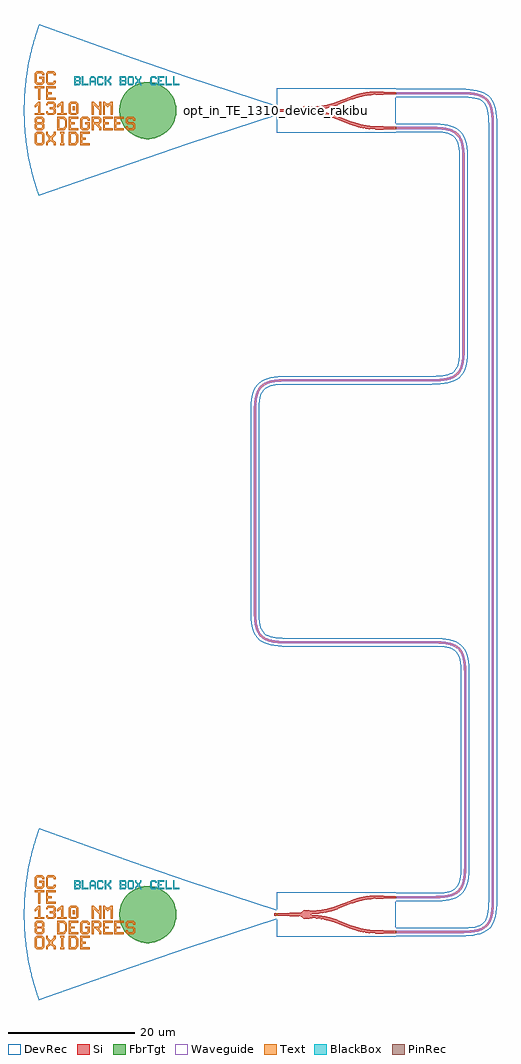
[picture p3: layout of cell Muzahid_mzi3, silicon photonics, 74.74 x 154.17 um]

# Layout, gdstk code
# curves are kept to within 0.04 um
import gdstk
lib = gdstk.Library(unit=1e-6, precision=1e-09)
def R(c, l, rs):  # rectangles x0, y0, x1, y1
    for r in rs: c.add(gdstk.rectangle(r[:2], r[2:], *l))
def P(c, l, *ps):  # polygons
    for p in ps: c.add(gdstk.Polygon(p, *l))
Si = (1, 0)
PinRec = (1, 10)
Waveguide = (1, 99)
Text = (10, 0)
DevRec = (68, 0)
FbrTgt = (81, 0)
BlackBox = (998, 0)

waveguide = lib.new_cell('Waveguide')
P(waveguide, Si, [(58.769,10.575),(58.769,10.925),(69.496,10.93),(70.634,10.997),(71.565,11.157),(72.076,11.32),(72.506,11.534),(72.863,11.799),(73.157,12.123),(73.448,12.626),(73.624,13.117),(73.838,14.358),(73.891,15.75),(73.891,138.25),(73.819,139.818),(73.693,140.608),(73.541,141.14),(73.341,141.59),(73.089,141.965),(72.78,142.274),(72.405,142.526),(71.955,142.726),(71.423,142.878),(70.458,143.022),(69.495,143.071),(58.769,143.075),(58.769,143.425),(69.287,143.424),(70.49,143.37),(71.499,143.22),(72.205,143.005),(72.901,142.623),(73.359,142.187),(73.709,141.64),(73.999,140.835),(74.147,140.032),(74.231,138.896),(74.241,15.75),(74.186,14.326),(74.068,13.473),(73.918,12.88),(73.71,12.361),(73.439,11.915),(73.099,11.539),(72.688,11.234),(72.206,10.996),(71.651,10.817),(70.672,10.649),(69.502,10.58)])
P(waveguide, Waveguide, [(58.769,10.575),(58.769,10.925),(69.496,10.93),(70.634,10.997),(71.565,11.157),(72.076,11.32),(72.506,11.534),(72.863,11.799),(73.157,12.123),(73.448,12.626),(73.624,13.117),(73.838,14.358),(73.891,15.75),(73.891,138.25),(73.819,139.818),(73.693,140.608),(73.541,141.14),(73.341,141.59),(73.089,141.965),(72.78,142.274),(72.405,142.526),(71.955,142.726),(71.423,142.878),(70.458,143.022),(69.495,143.071),(58.769,143.075),(58.769,143.425),(69.287,143.424),(70.49,143.37),(71.499,143.22),(72.205,143.005),(72.901,142.623),(73.359,142.187),(73.709,141.64),(73.999,140.835),(74.147,140.032),(74.231,138.896),(74.241,15.75),(74.186,14.326),(74.068,13.473),(73.918,12.88),(73.71,12.361),(73.439,11.915),(73.099,11.539),(72.688,11.234),(72.206,10.996),(71.651,10.817),(70.672,10.649),(69.502,10.58)])
P(waveguide, DevRec, [(58.769,10.075),(58.769,11.425),(69.718,11.436),(70.822,11.524),(71.665,11.705),(72.264,11.972),(72.491,12.136),(72.845,12.553),(73.112,13.152),(73.214,13.542),(73.349,14.514),(73.391,15.75),(73.391,138.25),(73.292,140.006),(73.111,140.849),(72.988,141.177),(72.68,141.675),(72.49,141.865),(71.992,142.173),(71.274,142.398),(70.302,142.533),(69.065,142.575),(58.769,142.575),(58.769,143.925),(69.067,143.925),(70.41,143.879),(71.56,143.718),(72.544,143.405),(73.366,142.891),(73.706,142.551),(73.99,142.162),(74.399,141.255),(74.63,140.192),(74.73,138.95),(74.741,15.75),(74.695,14.406),(74.534,13.256),(74.4,12.746),(73.991,11.839),(73.367,11.11),(72.978,10.826),(72.071,10.417),(71.008,10.186),(69.766,10.086)])
waveguide.add(gdstk.FlexPath([(58.779,143.25),(58.759,143.25)], 0.35, ends="flush", simple_path=True, layer=1, datatype=10))  # PinRec
waveguide.add(gdstk.FlexPath([(58.779,10.75),(58.759,10.75)], 0.35, ends="flush", simple_path=True, layer=1, datatype=10))  # PinRec
waveguide.add(gdstk.Label('opt1', (58.769,143.25), layer=1, texttype=10))
waveguide.add(gdstk.Label('opt2', (58.769,10.75), layer=1, texttype=10))
waveguide.add(gdstk.Label('Lumerical_INTERCONNECT_library=Design kits/EBeam', (58.769,143.18), layer=68, texttype=0))
waveguide.add(gdstk.Label('Component=ebeam_wg_integral_1310', (58.769,143.32), layer=68, texttype=0))
waveguide.add(gdstk.Label('cellName=Waveguide', (58.769,143.39), layer=68, texttype=0))
waveguide.add(gdstk.Label('Spice_param:wg_length=0.000160001 wg_width=3.5e-07 points="[[58.769,143.25],[74.066,143.25],[74.066,10.75],[58.769,10.75]]" radius=5e-06', (58.769,143.25), layer=68, texttype=0))
waveguide.add(gdstk.Label('Length=160.001 (microns)', (58.769,142.83), layer=68, texttype=0))
waveguide.add(gdstk.Label('waveguide_type=Strip TE 1310 nm, w=350 nm', (58.769,143.11), layer=68, texttype=0))

text = lib.new_cell('TEXT')
P(text, BlackBox, [(0,0),(0,1.4),(0.8,1.4),(1,1.2),(0.2,1.2),(0.2,0.8),(0.7,0.8),(0.8,0.9),(0.8,1.1),(0.7,1.2),(1,1.2),(1,0.8),(0.9,0.7),(1,0.6),(0.2,0.6),(0.2,0.2),(0.7,0.2),(0.8,0.3),(0.8,0.5),(0.7,0.6),(1,0.6),(1,0.2),(0.8,0)],
  [(1.2,0),(1.2,1.4),(1.4,1.4),(1.4,0.2),(2.2,0.2),(2.2,0)],
  [(2.4,0),(2.4,1.1),(2.7,1.4),(3.1,1.4),(3.3,1.2),(2.8,1.2),(2.6,1),(2.6,0.7),(3.2,0.7),(3.2,1),(3,1.2),(3.3,1.2),(3.4,1.1),(3.4,0),(3.2,0),(3.2,0.5),(2.6,0.5),(2.6,0)],
  [(3.8,0),(3.6,0.2),(3.6,1.2),(3.8,1.4),(4.4,1.4),(4.6,1.2),(4.6,1),(4.4,1),(4.4,1.1),(4.3,1.2),(3.9,1.2),(3.8,1.1),(3.8,0.3),(3.9,0.2),(4.3,0.2),(4.4,0.3),(4.4,0.4),(4.6,0.4),(4.6,0.2),(4.4,0)],
  [(4.8,0),(4.8,1.4),(5,1.4),(5,0.8),(5.2,0.8),(5.6,1.2),(5.6,1.4),(5.8,1.4),(5.8,1.1),(5.4,0.7),(5.8,0.3),(5.8,0),(5.6,0),(5.6,0.2),(5.2,0.6),(5,0.6),(5,0)],
  [(7.2,0),(7.2,1.4),(8,1.4),(8.2,1.2),(7.4,1.2),(7.4,0.8),(7.9,0.8),(8,0.9),(8,1.1),(7.9,1.2),(8.2,1.2),(8.2,0.8),(8.1,0.7),(8.2,0.6),(7.4,0.6),(7.4,0.2),(7.9,0.2),(8,0.3),(8,0.5),(7.9,0.6),(8.2,0.6),(8.2,0.2),(8,0)],
  [(8.6,0),(8.4,0.2),(8.4,1.2),(8.6,1.4),(9.2,1.4),(9.4,1.2),(9.4,0.7),(9.2,0.7),(9.2,1.1),(9.1,1.2),(8.7,1.2),(8.6,1.1),(8.6,0.3),(8.7,0.2),(9.1,0.2),(9.2,0.3),(9.2,0.7),(9.4,0.7),(9.4,0.2),(9.2,0)],
  [(9.6,0),(9.6,0.3),(9.9,0.6),(9.9,0.8),(9.6,1.1),(9.6,1.4),(9.8,1.4),(9.8,1.2),(10.1,0.9),(10.4,1.2),(10.4,1.4),(10.6,1.4),(10.6,1.1),(10.3,0.8),(10.3,0.6),(10.6,0.3),(10.6,0),(10.4,0),(10.4,0.2),(10.1,0.5),(9.8,0.2),(9.8,0)],
  [(12.2,0),(12,0.2),(12,1.2),(12.2,1.4),(12.8,1.4),(13,1.2),(13,1),(12.8,1),(12.8,1.1),(12.7,1.2),(12.3,1.2),(12.2,1.1),(12.2,0.3),(12.3,0.2),(12.7,0.2),(12.8,0.3),(12.8,0.4),(13,0.4),(13,0.2),(12.8,0)],
  [(13.2,0),(13.2,1.4),(14.2,1.4),(14.2,1.2),(13.4,1.2),(13.4,0.8),(13.8,0.8),(13.8,0.6),(13.4,0.6),(13.4,0.2),(14.2,0.2),(14.2,0)],
  [(14.4,0),(14.4,1.4),(14.6,1.4),(14.6,0.2),(15.4,0.2),(15.4,0)],
  [(15.6,0),(15.6,1.4),(15.8,1.4),(15.8,0.2),(16.6,0.2),(16.6,0)])

gc_te_1310_8degoxide_bb = lib.new_cell('GC_TE_1310_8degOxide_BB')
R(gc_te_1310_8degoxide_bb, Si, [(-0.4,-0.175,0,0.175)])
R(gc_te_1310_8degoxide_bb, Text, [(-32.27,0.06,-31.97,0.66)])
P(gc_te_1310_8degoxide_bb, Text, [(-37.67,1.71),(-37.67,3.51),(-38.27,3.51),(-38.27,3.81),(-36.77,3.81),(-36.77,3.51),(-37.37,3.51),(-37.37,1.71)],
  [(-37.97,-5.49),(-38.27,-5.19),(-38.27,-3.69),(-37.97,-3.39),(-37.07,-3.39),(-36.77,-3.69),(-36.77,-4.44),(-37.07,-4.44),(-37.07,-3.84),(-37.22,-3.69),(-37.82,-3.69),(-37.97,-3.84),(-37.97,-5.04),(-37.82,-5.19),(-37.22,-5.19),(-37.07,-5.04),(-37.07,-4.44),(-36.77,-4.44),(-36.77,-5.19),(-37.07,-5.49)],
  [(-31.07,-5.49),(-31.07,-3.39),(-29.57,-3.39),(-29.57,-3.69),(-30.77,-3.69),(-30.77,-4.29),(-30.17,-4.29),(-30.17,-4.59),(-30.77,-4.59),(-30.77,-5.19),(-29.57,-5.19),(-29.57,-5.49)],
  [(-32.87,-3.09),(-32.87,-0.99),(-31.37,-0.99),(-31.37,-1.29),(-32.57,-1.29),(-32.57,-1.89),(-31.97,-1.89),(-31.97,-2.19),(-32.57,-2.19),(-32.57,-2.79),(-31.37,-2.79),(-31.37,-3.09)],
  [(-27.47,-3.09),(-27.47,-0.99),(-25.97,-0.99),(-25.97,-1.29),(-27.17,-1.29),(-27.17,-1.89),(-26.57,-1.89),(-26.57,-2.19),(-27.17,-2.19),(-27.17,-2.79),(-25.97,-2.79),(-25.97,-3.09)],
  [(-25.67,-3.09),(-25.67,-0.99),(-24.17,-0.99),(-24.17,-1.29),(-25.37,-1.29),(-25.37,-1.89),(-24.77,-1.89),(-24.77,-2.19),(-25.37,-2.19),(-25.37,-2.79),(-24.17,-2.79),(-24.17,-3.09)],
  [(-36.47,1.71),(-36.47,3.81),(-34.97,3.81),(-34.97,3.51),(-36.17,3.51),(-36.17,2.91),(-35.57,2.91),(-35.57,2.61),(-36.17,2.61),(-36.17,2.01),(-34.97,2.01),(-34.97,1.71)],
  [(-27.47,-0.69),(-27.47,1.41),(-27.17,1.41),(-26.87,1.11),(-26.57,1.11),(-26.27,1.41),(-25.97,1.41),(-25.97,-0.69),(-26.27,-0.69),(-26.27,0.81),(-26.42,0.81),(-26.72,0.51),(-27.02,0.81),(-27.17,0.81),(-27.17,-0.69)],
  [(-29.27,-0.69),(-29.27,1.41),(-28.97,1.41),(-28.22,0.66),(-28.07,0.66),(-28.07,1.41),(-27.77,1.41),(-27.77,-0.69),(-28.07,-0.69),(-28.07,0.06),(-28.82,0.81),(-28.97,0.81),(-28.97,-0.69)],
  [(-34.22,-5.49),(-34.22,-5.19),(-34.07,-5.19),(-34.07,-3.69),(-34.22,-3.69),(-34.22,-3.39),(-33.62,-3.39),(-33.62,-3.69),(-33.77,-3.69),(-33.77,-5.19),(-33.62,-5.19),(-33.62,-5.49)],
  [(-36.17,-0.69),(-36.47,-0.39),(-36.47,-0.09),(-36.17,-0.09),(-36.17,-0.24),(-36.02,-0.39),(-35.42,-0.39),(-35.27,-0.24),(-35.27,0.06),(-35.42,0.21),(-35.87,0.21),(-35.87,0.51),(-35.42,0.51),(-35.27,0.66),(-35.27,0.96),(-35.42,1.11),(-36.02,1.11),(-36.17,0.96),(-36.17,0.81),(-36.47,0.81),(-36.47,1.11),(-36.17,1.41),(-35.27,1.41),(-34.97,1.11),(-34.97,0.51),(-35.12,0.36),(-34.97,0.21),(-34.97,-0.39),(-35.27,-0.69)],
  [(-29.27,-3.09),(-29.27,-0.99),(-28.07,-0.99),(-27.77,-1.29),(-28.97,-1.29),(-28.97,-1.89),(-28.22,-1.89),(-28.07,-1.74),(-28.07,-1.44),(-28.22,-1.29),(-27.77,-1.29),(-27.77,-1.89),(-28.07,-2.19),(-28.07,-2.34),(-27.77,-2.64),(-27.77,-3.09),(-28.07,-3.09),(-28.07,-2.79),(-28.67,-2.19),(-28.97,-2.19),(-28.97,-3.09)],
  [(-30.77,-3.09),(-31.07,-2.79),(-31.07,-1.29),(-30.77,-0.99),(-29.87,-0.99),(-29.57,-1.29),(-29.57,-1.59),(-29.87,-1.59),(-29.87,-1.44),(-30.02,-1.29),(-30.62,-1.29),(-30.77,-1.44),(-30.77,-2.64),(-30.62,-2.79),(-30.02,-2.79),(-29.87,-2.64),(-29.87,-2.19),(-30.32,-2.19),(-30.32,-1.89),(-29.57,-1.89),(-29.57,-2.79),(-29.87,-3.09)],
  [(-37.97,4.11),(-38.27,4.41),(-38.27,5.91),(-37.97,6.21),(-37.07,6.21),(-36.77,5.91),(-36.77,5.61),(-37.07,5.61),(-37.07,5.76),(-37.22,5.91),(-37.82,5.91),(-37.97,5.76),(-37.97,4.56),(-37.82,4.41),(-37.22,4.41),(-37.07,4.56),(-37.07,5.01),(-37.52,5.01),(-37.52,5.31),(-36.77,5.31),(-36.77,4.41),(-37.07,4.11)],
  [(-32.57,-0.69),(-32.87,-0.39),(-32.87,1.11),(-32.57,1.41),(-31.67,1.41),(-31.37,1.11),(-32.42,1.11),(-32.57,0.96),(-32.57,-0.24),(-32.42,-0.39),(-31.82,-0.39),(-31.67,-0.24),(-31.67,0.96),(-31.82,1.11),(-31.37,1.11),(-31.37,-0.39),(-31.67,-0.69)],
  [(-32.87,-5.49),(-32.87,-3.39),(-31.82,-3.39),(-31.52,-3.69),(-32.57,-3.69),(-32.57,-5.19),(-31.97,-5.19),(-31.67,-4.89),(-31.67,-3.99),(-31.97,-3.69),(-31.52,-3.69),(-31.37,-3.84),(-31.37,-5.04),(-31.82,-5.49)],
  [(-34.67,-3.09),(-34.67,-0.99),(-33.62,-0.99),(-33.32,-1.29),(-34.37,-1.29),(-34.37,-2.79),(-33.77,-2.79),(-33.47,-2.49),(-33.47,-1.59),(-33.77,-1.29),(-33.32,-1.29),(-33.17,-1.44),(-33.17,-2.64),(-33.62,-3.09)],
  [(-23.57,-3.09),(-23.87,-2.79),(-23.87,-2.49),(-23.57,-2.49),(-23.57,-2.64),(-23.42,-2.79),(-22.82,-2.79),(-22.67,-2.64),(-22.67,-2.34),(-22.82,-2.19),(-23.57,-2.19),(-23.87,-1.89),(-23.87,-1.29),(-23.57,-0.99),(-22.67,-0.99),(-22.37,-1.29),(-22.37,-1.59),(-22.67,-1.59),(-22.67,-1.44),(-22.82,-1.29),(-23.42,-1.29),(-23.57,-1.44),(-23.57,-1.74),(-23.42,-1.89),(-22.67,-1.89),(-22.37,-2.19),(-22.37,-2.79),(-22.67,-3.09)],
  [(-37.97,-3.09),(-38.27,-2.79),(-38.27,-2.19),(-38.12,-2.04),(-38.27,-1.89),(-38.27,-1.29),(-37.97,-0.99),(-37.07,-0.99),(-36.77,-1.29),(-37.82,-1.29),(-37.97,-1.44),(-37.97,-1.74),(-37.82,-1.89),(-37.22,-1.89),(-37.07,-1.74),(-37.07,-1.44),(-37.22,-1.29),(-36.77,-1.29),(-36.77,-1.89),(-36.92,-2.04),(-36.77,-2.19),(-37.82,-2.19),(-37.97,-2.34),(-37.97,-2.64),(-37.82,-2.79),(-37.22,-2.79),(-37.07,-2.64),(-37.07,-2.34),(-37.22,-2.19),(-36.77,-2.19),(-36.77,-2.79),(-37.07,-3.09)],
  [(-38.27,-0.69),(-38.27,-0.39),(-37.67,-0.39),(-37.67,0.81),(-37.82,0.81),(-38.12,0.51),(-38.27,0.51),(-38.27,0.81),(-37.67,1.41),(-37.37,1.41),(-37.37,-0.39),(-36.77,-0.39),(-36.77,-0.69)],
  [(-34.67,-0.69),(-34.67,-0.39),(-34.07,-0.39),(-34.07,0.81),(-34.22,0.81),(-34.52,0.51),(-34.67,0.51),(-34.67,0.81),(-34.07,1.41),(-33.77,1.41),(-33.77,-0.39),(-33.17,-0.39),(-33.17,-0.69)],
  [(-36.47,-5.49),(-36.47,-5.04),(-36.02,-4.59),(-36.02,-4.29),(-36.47,-3.84),(-36.47,-3.39),(-36.17,-3.39),(-36.17,-3.69),(-35.72,-4.14),(-35.27,-3.69),(-35.27,-3.39),(-34.97,-3.39),(-34.97,-3.84),(-35.42,-4.29),(-35.42,-4.59),(-34.97,-5.04),(-34.97,-5.49),(-35.27,-5.49),(-35.27,-5.19),(-35.72,-4.74),(-36.17,-5.19),(-36.17,-5.49)],
  [(-36.17,4.11),(-36.47,4.41),(-36.47,5.91),(-36.17,6.21),(-35.27,6.21),(-34.97,5.91),(-34.97,5.61),(-35.27,5.61),(-35.27,5.76),(-35.42,5.91),(-36.02,5.91),(-36.17,5.76),(-36.17,4.56),(-36.02,4.41),(-35.42,4.41),(-35.27,4.56),(-35.27,4.71),(-34.97,4.71),(-34.97,4.41),(-35.27,4.11)])
P(gc_te_1310_8degoxide_bb, DevRec, [(-37.607,-13.5),(-38.627,-10.245),(-39.378,-6.832),(-39.647,-5.058),(-39.835,-3.274),(-39.969,0.224),(-39.812,3.541),(-39.331,7.097),(-38.557,10.505),(-37.546,13.669),(-22.8,8.353),(-14.109,5.36),(0,0.75),(0,-0.75),(-14.109,-5.36)])
P(gc_te_1310_8degoxide_bb, FbrTgt, [(-20.621,-4.5),(-21.495,-4.37),(-22.326,-4.073),(-23.084,-3.619),(-23.738,-3.026),(-24.264,-2.316),(-24.642,-1.518),(-24.857,-0.661),(-24.9,0.221),(-24.77,1.095),(-24.473,1.926),(-24.019,2.684),(-23.426,3.338),(-22.716,3.864),(-21.918,4.242),(-21.061,4.457),(-20.179,4.5),(-19.305,4.37),(-18.474,4.073),(-17.716,3.619),(-17.062,3.026),(-16.536,2.316),(-16.158,1.518),(-15.943,0.661),(-15.9,-0.221),(-16.03,-1.095),(-16.327,-1.926),(-16.781,-2.684),(-17.374,-3.338),(-18.084,-3.864),(-18.882,-4.242),(-19.739,-4.457)])
gc_te_1310_8degoxide_bb.add(gdstk.FlexPath([(-0.01,0),(0.01,0)], 0.35, ends="flush", simple_path=True, layer=1, datatype=10))  # PinRec
gc_te_1310_8degoxide_bb.add(gdstk.Reference(text, (-32,4)))
gc_te_1310_8degoxide_bb.add(gdstk.Label('opt1', (0,0), layer=1, texttype=10))
gc_te_1310_8degoxide_bb.add(gdstk.Label('Lumerical_INTERCONNECT_library=Design kits/ebeam', (-29,-7), layer=68, texttype=0))
gc_te_1310_8degoxide_bb.add(gdstk.Label('Component=GC_TE_1310_8degOxide_BB', (-28,-5), layer=68, texttype=0))

ebeam_y_1310 = lib.new_cell('ebeam_y_1310')
R(ebeam_y_1310, Si, [(6.5,-3,7.4,-2.5), (-7.4,-0.25,-6,0.25), (6.5,2.5,7.4,3)])
P(ebeam_y_1310, Si, [(6.458,-3),(6.237,-2.997),(6.237,-2.497),(6.5,-2.5),(6.5,-3)],
  [(5.033,-2.908),(3.59,-2.634),(2.265,-2.21),(2.445,-1.744),(3.731,-2.154),(5.033,-2.404)],
  [(6.233,-2.997),(5.033,-2.908),(5.033,-2.404),(6.237,-2.497)],
  [(2.265,-2.21),(0.055,-1.356),(0.235,-0.89),(2.445,-1.744)],
  [(-0.762,-1.076),(-2.334,-0.724),(-4,-0.6),(-4,-0.1),(-2.381,-0.212),(-0.762,-0.555)],
  [(0.055,-1.356),(-0.762,-1.076),(-0.762,-0.555),(0.235,-0.89)],
  [(6.237,2.497),(6.237,2.997),(6.5,3),(6.5,2.5)],
  [(2.445,1.744),(2.267,2.211),(3.59,2.634),(5.033,2.908),(5.033,2.404),(3.731,2.154)],
  [(5.033,2.404),(5.033,2.908),(6.237,2.997),(6.237,2.497)],
  [(0.235,0.89),(0.055,1.356),(2.265,2.21),(2.445,1.744)],
  [(-4,0.1),(-4,0.6),(-2.334,0.724),(-0.762,1.076),(-0.762,0.555),(-2.381,0.212)],
  [(-0.762,0.555),(-0.762,1.076),(0.055,1.356),(0.235,0.89)],
  [(-5.122,-0.662),(-5.442,-0.374),(-5.808,-0.255),(-6,-0.25),(-6,0.25),(-5.817,0.253),(-5.442,0.374),(-5.122,0.662)],
  [(-4.957,-0.703),(-5.122,-0.662),(-5.122,0.662),(-4.538,0.703),(-4,0.6),(-4,-0.6),(-4.509,-0.701)],
  [(-7.4,-0.25),(-9.4,-0.175),(-9.4,0.175),(-7.4,0.25)],
  [(7.4,2.5),(7.4,3),(9.4,2.925),(9.4,2.575)],
  [(7.4,-3),(7.4,-2.5),(9.4,-2.575),(9.4,-2.925)])
R(ebeam_y_1310, DevRec, [(-9.4,-3.5,9.4,3.5)])
ebeam_y_1310.add(gdstk.FlexPath([(9.35,2.75),(9.45,2.75)], 0.35, ends="flush", simple_path=True, layer=1, datatype=10))  # PinRec
ebeam_y_1310.add(gdstk.FlexPath([(9.35,-2.75),(9.45,-2.75)], 0.35, ends="flush", simple_path=True, layer=1, datatype=10))  # PinRec
ebeam_y_1310.add(gdstk.FlexPath([(-9.35,0),(-9.45,0)], 0.35, ends="flush", simple_path=True, layer=1, datatype=10))  # PinRec
ebeam_y_1310.add(gdstk.Label('Ref: Y Zhang, Opt. Express, 21/1, 2013, for 1550 nm\nWorks reasonably well at 1310 nm', (-9.25,-1), layer=10, texttype=0))
ebeam_y_1310.add(gdstk.Label('opt2', (9.4,2.75), layer=1, texttype=10))
ebeam_y_1310.add(gdstk.Label('opt3', (9.4,-2.75), layer=1, texttype=10))
ebeam_y_1310.add(gdstk.Label('opt1', (-9.4,0), layer=1, texttype=10))
ebeam_y_1310.add(gdstk.Label('Lumerical_INTERCONNECT_library=Design kits/ebeam', (-6.86,-2.19), layer=68, texttype=0))
ebeam_y_1310.add(gdstk.Label('Component=ebeam_y_1310', (-9,1.5), layer=68, texttype=0))

waveguide_6 = lib.new_cell('Waveguide$6')
P(waveguide_6, Si, [(58.769,16.075),(58.769,16.425),(65.333,16.435),(66.437,16.517),(67.198,16.657),(68.039,16.975),(68.575,17.374),(68.975,17.911),(69.257,18.617),(69.453,19.683),(69.523,21.033),(69.524,51.5),(69.47,52.893),(69.256,54.134),(69.08,54.625),(68.855,55.035),(68.575,55.376),(68.233,55.657),(67.823,55.882),(67.332,56.058),(66.266,56.254),(64.699,56.325),(40.645,56.343),(39.541,56.443),(38.486,56.695),(37.763,57.054),(37.2,57.564),(36.85,58.111),(36.56,58.916),(36.392,59.895),(36.323,61.065),(36.347,93.936),(36.437,94.843),(36.601,95.62),(36.793,96.157),(37.122,96.726),(37.462,97.102),(37.987,97.472),(38.624,97.742),(39.377,97.921),(40.257,98.026),(41.273,98.064),(65.286,98.083),(66.511,98.204),(67.463,98.46),(68.168,98.867),(68.61,99.356),(68.884,99.881),(69.111,100.679),(69.225,101.498),(69.277,102.673),(69.278,132.75),(69.224,134.143),(69.046,135.249),(68.728,136.09),(68.329,136.626),(67.686,137.08),(66.81,137.378),(65.845,137.522),(64.882,137.571),(58.769,137.575),(58.769,137.925),(65.498,137.898),(66.405,137.808),(67.323,137.602),(67.96,137.332),(68.485,136.962),(68.899,136.481),(69.207,135.89),(69.422,135.184),(69.572,134.175),(69.628,132.75),(69.624,102.455),(69.555,101.285),(69.423,100.457),(69.208,99.751),(68.9,99.16),(68.39,98.597),(68.075,98.374),(67.593,98.136),(66.731,97.889),(65.499,97.743),(41.277,97.714),(40.283,97.676),(39.437,97.577),(38.73,97.408),(38.155,97.166),(37.78,96.914),(37.404,96.518),(37.113,96.015),(36.937,95.524),(36.783,94.791),(36.697,93.916),(36.673,61.071),(36.74,59.933),(36.9,59.002),(37.112,58.376),(37.47,57.786),(37.959,57.344),(38.604,57.025),(39.436,56.814),(40.661,56.693),(64.699,56.675),(66.304,56.602),(67.569,56.352),(68.088,56.144),(68.534,55.873),(68.91,55.533),(69.145,55.231),(69.4,54.767),(69.592,54.23),(69.8,53.106),(69.874,51.5),(69.873,21.029),(69.801,19.645),(69.593,18.521),(69.216,17.629),(68.732,17.039),(68.089,16.607),(67.133,16.281),(66.305,16.149),(65.345,16.085)])
P(waveguide_6, Waveguide, [(58.769,16.075),(58.769,16.425),(65.333,16.435),(66.437,16.517),(67.198,16.657),(68.039,16.975),(68.575,17.374),(68.975,17.911),(69.257,18.617),(69.453,19.683),(69.523,21.033),(69.524,51.5),(69.47,52.893),(69.256,54.134),(69.08,54.625),(68.855,55.035),(68.575,55.376),(68.233,55.657),(67.823,55.882),(67.332,56.058),(66.266,56.254),(64.699,56.325),(40.645,56.343),(39.541,56.443),(38.486,56.695),(37.763,57.054),(37.2,57.564),(36.85,58.111),(36.56,58.916),(36.392,59.895),(36.323,61.065),(36.347,93.936),(36.437,94.843),(36.601,95.62),(36.793,96.157),(37.122,96.726),(37.462,97.102),(37.987,97.472),(38.624,97.742),(39.377,97.921),(40.257,98.026),(41.273,98.064),(65.286,98.083),(66.511,98.204),(67.463,98.46),(68.168,98.867),(68.61,99.356),(68.884,99.881),(69.111,100.679),(69.225,101.498),(69.277,102.673),(69.278,132.75),(69.224,134.143),(69.046,135.249),(68.728,136.09),(68.329,136.626),(67.686,137.08),(66.81,137.378),(65.845,137.522),(64.882,137.571),(58.769,137.575),(58.769,137.925),(65.498,137.898),(66.405,137.808),(67.323,137.602),(67.96,137.332),(68.485,136.962),(68.899,136.481),(69.207,135.89),(69.422,135.184),(69.572,134.175),(69.628,132.75),(69.624,102.455),(69.555,101.285),(69.423,100.457),(69.208,99.751),(68.9,99.16),(68.39,98.597),(68.075,98.374),(67.593,98.136),(66.731,97.889),(65.499,97.743),(41.277,97.714),(40.283,97.676),(39.437,97.577),(38.73,97.408),(38.155,97.166),(37.78,96.914),(37.404,96.518),(37.113,96.015),(36.937,95.524),(36.783,94.791),(36.697,93.916),(36.673,61.071),(36.74,59.933),(36.9,59.002),(37.112,58.376),(37.47,57.786),(37.959,57.344),(38.604,57.025),(39.436,56.814),(40.661,56.693),(64.699,56.675),(66.304,56.602),(67.569,56.352),(68.088,56.144),(68.534,55.873),(68.91,55.533),(69.145,55.231),(69.4,54.767),(69.592,54.23),(69.8,53.106),(69.874,51.5),(69.873,21.029),(69.801,19.645),(69.593,18.521),(69.216,17.629),(68.732,17.039),(68.089,16.607),(67.133,16.281),(66.305,16.149),(65.345,16.085)])
P(waveguide_6, DevRec, [(58.769,15.575),(58.769,16.925),(65.351,16.936),(66.908,17.103),(67.626,17.328),(68.124,17.636),(68.314,17.826),(68.622,18.324),(68.847,19.042),(68.982,20.014),(69.024,21.25),(69.024,51.5),(68.981,52.737),(68.744,54.099),(68.477,54.698),(68.313,54.925),(67.896,55.279),(67.297,55.546),(66.907,55.648),(65.935,55.783),(40.794,55.836),(39.552,55.936),(38.489,56.167),(37.582,56.576),(36.853,57.2),(36.569,57.589),(36.16,58.496),(35.929,59.559),(35.829,60.802),(35.83,93.59),(36.027,95.385),(36.34,96.369),(36.57,96.802),(36.854,97.191),(37.583,97.815),(38.016,98.045),(39,98.358),(40.15,98.519),(41.494,98.565),(65.105,98.576),(66.209,98.664),(67.052,98.845),(67.651,99.112),(67.878,99.276),(68.232,99.693),(68.499,100.292),(68.68,101.135),(68.778,102.89),(68.778,132.75),(68.735,133.987),(68.6,134.959),(68.375,135.677),(68.067,136.175),(67.877,136.365),(67.379,136.673),(66.661,136.898),(65.105,137.065),(58.769,137.075),(58.769,138.425),(65.151,138.415),(66.394,138.315),(67.457,138.084),(68.364,137.675),(68.753,137.391),(69.093,137.051),(69.607,136.229),(69.92,135.245),(70.081,134.095),(70.128,132.75),(70.118,102.192),(69.921,100.396),(69.608,99.412),(69.378,98.979),(68.754,98.25),(67.932,97.736),(66.948,97.423),(65.798,97.262),(64.453,97.215),(41.494,97.215),(39.739,97.117),(38.568,96.813),(38.07,96.505),(37.716,96.088),(37.449,95.489),(37.347,95.099),(37.18,93.542),(37.179,60.848),(37.346,59.292),(37.571,58.574),(37.879,58.076),(38.296,57.722),(38.895,57.455),(39.738,57.274),(40.842,57.186),(64.699,57.175),(66.64,57.065),(67.703,56.834),(68.177,56.655),(68.999,56.141),(69.623,55.412),(70.032,54.505),(70.263,53.442),(70.374,51.5),(70.374,21.25),(70.264,19.309),(70.033,18.246),(69.624,17.339),(69,16.61),(68.178,16.096),(67.194,15.783),(65.399,15.586)])
waveguide_6.add(gdstk.FlexPath([(58.779,137.75),(58.759,137.75)], 0.35, ends="flush", simple_path=True, layer=1, datatype=10))  # PinRec
waveguide_6.add(gdstk.FlexPath([(58.779,16.25),(58.759,16.25)], 0.35, ends="flush", simple_path=True, layer=1, datatype=10))  # PinRec
waveguide_6.add(gdstk.Label('opt1', (58.769,137.75), layer=1, texttype=10))
waveguide_6.add(gdstk.Label('opt2', (58.769,16.25), layer=1, texttype=10))
waveguide_6.add(gdstk.Label('Lumerical_INTERCONNECT_library=Design kits/EBeam', (58.769,137.68), layer=68, texttype=0))
waveguide_6.add(gdstk.Label('Component=ebeam_wg_integral_1310', (58.769,137.82), layer=68, texttype=0))
waveguide_6.add(gdstk.Label('cellName=Waveguide', (58.769,137.89), layer=68, texttype=0))
waveguide_6.add(gdstk.Label('Spice_param:wg_length=0.000200000 wg_width=3.5e-07 points="[[58.769,137.75],[69.453,137.75],[69.453,97.89],[36.494,97.89],[36.494,56.5],[69.699,56.5],[69.699,16.25],[58.769,16.25]]" radius=5e-06', (58.769,137.75), layer=68, texttype=0))
waveguide_6.add(gdstk.Label('Length=200.000 (microns)', (58.769,137.33), layer=68, texttype=0))
waveguide_6.add(gdstk.Label('waveguide_type=Strip TE 1310 nm, w=350 nm', (58.769,137.61), layer=68, texttype=0))

muzahid_mzi3 = lib.new_cell('Muzahid_mzi3')
muzahid_mzi3.add(gdstk.Reference(waveguide, (0,0)))
muzahid_mzi3.add(gdstk.Reference(gc_te_1310_8degoxide_bb, (39.969,13.5)))
muzahid_mzi3.add(gdstk.Reference(ebeam_y_1310, (49.369,13.5)))
muzahid_mzi3.add(gdstk.Reference(ebeam_y_1310, (49.369,140.5)))
muzahid_mzi3.add(gdstk.Reference(gc_te_1310_8degoxide_bb, (39.969,140.5)))
muzahid_mzi3.add(gdstk.Reference(waveguide_6, (0,0)))
muzahid_mzi3.add(gdstk.Label('opt_in_TE_1310_device_rakibul_mzi3Muzahid', (39.969,140.5), layer=10, texttype=0))

lib.write_gds('Muzahid_mzi3.gds')
